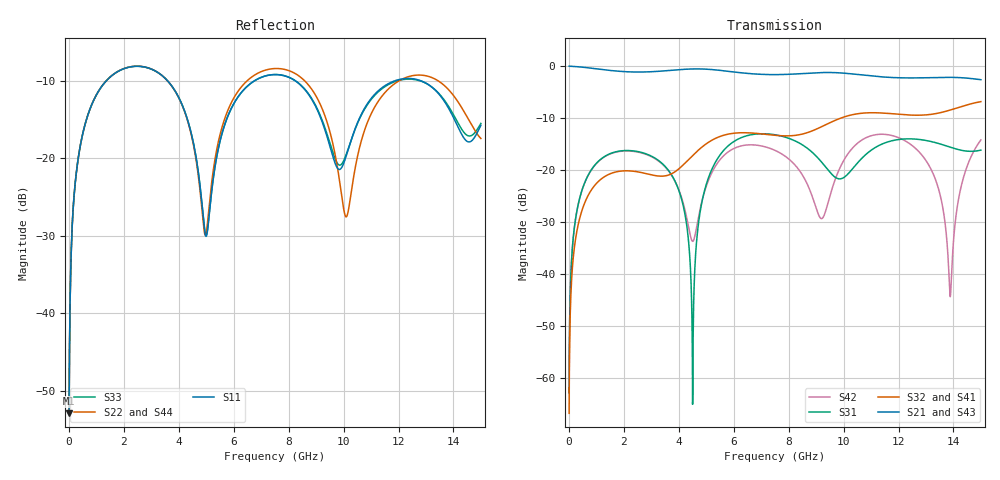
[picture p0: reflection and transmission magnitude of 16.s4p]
! Created with skrf 1.8.0 (http://scikit-rf.org).
# GHz S RI R 50.0
!freq ReS11 ImS11 ReS12 ImS12 ReS13 ImS13
! ReS14 ImS14
! ReS21 ImS21 ReS22 ImS22 ReS23 ImS23
! ReS24 ImS24
! ReS31 ImS31 ReS32 ImS32 ReS33 ImS33
! ReS34 ImS34
! ReS41 ImS41 ReS42 ImS42 ReS43 ImS43
! ReS44 ImS44
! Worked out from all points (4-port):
!   2499 points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, 5 MHz to 15 GHz, reference 50 ohm
!   strongest paths, dB at 5 MHz, 3.476 GHz, 7.19 GHz, 11.1 GHz, 15 GHz:
!     S21: 0.0, -0.9, -1.6, -1.9, -2.6
!     S43: 0.0, -0.9, -1.6, -1.9, -2.6
!     S32: -66.9, -21.2, -13.2, -9.0, -6.8
!     S41: -66.9, -21.3, -13.3, -9.0, -6.8
!     S31: -62.9, -19.2, -13.0, -15.9, -16.2
!     S42: -62.9, -19.3, -15.6, -13.3, -14.2
!   lowest |S11| = -52.9 dB at 5 MHz (marker M1), VSWR 1.00, Z = 50.2 + j0.137 ohm
!   |S11| at or under -10 dB: 3.598 GHz to 6.741 GHz (3.143 GHz wide, 60.8 % of centre); 8.248 GHz to 11.84 GHz (3.592 GHz wide, 35.8 % of centre); 12.84 GHz to end of sweep (the widest 3 of 4)
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0.005  0.0018 0.00137  0.9982 -0.00351  9.08e-05 0.000707  -8.82e-05 -0.000445
       0.9982 -0.00351  0.0018 0.00137  -8.82e-05 -0.000445  9.07e-05 0.000707
       9.08e-05 0.000707  -8.82e-05 -0.000445  0.0018 0.00137  0.9982 -0.00351
       -8.82e-05 -0.000445  9.07e-05 0.000707  0.9982 -0.00351  0.0018 0.00137
1.77574  0.3382 0.1351  0.3755 -0.8108  0.1478 0.0307  -0.0937 0.0219
         0.3755 -0.8108  0.3391 0.134  -0.0939 0.0223  0.1453 0.036
         0.1478 0.0307  -0.0939 0.0223  0.338 0.1353  0.3754 -0.8108
         -0.0937 0.0219  0.1453 0.036  0.3754 -0.8108  0.3393 0.1339
4.501876  0.0658 -0.1157  -0.8695 -0.3531  0.000474 -0.000286  -0.0492 0.1284
          -0.8695 -0.3531  0.0642 -0.1132  -0.0462 0.1296  -0.0196 -0.0062
          0.000474 -0.000286  -0.0462 0.1296  0.0665 -0.1153  -0.8696 -0.3529
          -0.0492 0.1284  -0.0196 -0.0062  -0.8696 -0.3529  0.0634 -0.1134
5.777407  0.1241 0.1386  -0.8005 0.3931  0.1417 0.0917  0.1256 0.1806
          -0.8005 0.3931  0.1383 0.1485  0.1298 0.1784  0.0819 0.1231
          0.1417 0.0917  0.1298 0.1784  0.1241 0.1386  -0.8002 0.3934
          0.1256 0.1806  0.0819 0.1231  -0.8002 0.3934  0.1388 0.1498
10.05419  0.0908 0.0381  0.8484 0.0898  -0.0488 0.0711  0.0336 -0.3244
          0.8484 0.0898  0.0409 -0.0131  0.0186 -0.3255  0.0641 0.1128
          -0.0488 0.0711  0.0186 -0.3255  0.0957 0.0338  0.8481 0.0905
          0.0336 -0.3244  0.0641 0.1128  0.8481 0.0905  0.0389 -0.0151
13.88704  0.1828 -0.0845  -0.4555 -0.6324  -0.1005 -0.1316  -0.3096 0.216
          -0.4555 -0.6324  0.2344 -0.1345  -0.2941 0.237  -0.00566 -0.00207
          -0.1005 -0.1316  -0.2941 0.237  0.1914 -0.081  -0.4548 -0.6315
          -0.3096 0.216  -0.00566 -0.00207  -0.4548 -0.6315  0.2357 -0.1395
15  0.1497 0.0662  -0.7203 -0.1664  -0.1079 0.1114  -0.1106 0.4413
    -0.7203 -0.1664  0.1244 -0.0514  -0.0818 0.4473  0.0603 0.185
    -0.1079 0.1114  -0.0818 0.4473  0.1591 0.0552  -0.7198 -0.1675
    -0.1106 0.4413  0.0603 0.185  -0.7198 -0.1675  0.1247 -0.0524
